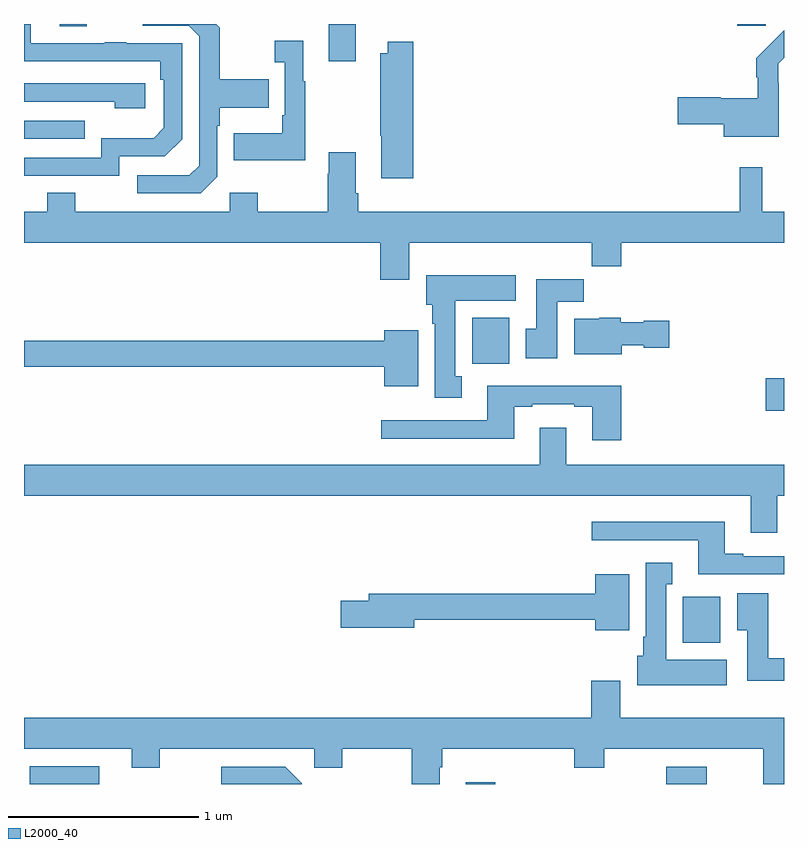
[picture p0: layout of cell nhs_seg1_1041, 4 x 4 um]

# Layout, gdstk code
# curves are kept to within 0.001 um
import gdstk
lib = gdstk.Library(unit=1e-6, precision=1e-09)
def R(c, l, rs):  # rectangles x0, y0, x1, y1
    for r in rs: c.add(gdstk.rectangle(r[:2], r[2:], *l))
def P(c, l, *ps):  # polygons
    for p in ps: c.add(gdstk.Polygon(p, *l))
L2000_40 = (2000, 40)

nhs_seg1_1041 = lib.new_cell('nhs_seg1_1041')
R(nhs_seg1_1041, L2000_40, [(167.031,566.199,167.395,566.292), (169.325,566.199,169.48,566.209), (170.379,566.199,170.593,566.289), (170.468,566.942,170.665,567.184), (170.904,568.163,171,568.334), (169.358,568.412,169.555,568.654), (167,569.595,167.321,569.691), (168.605,570.003,168.745,570.199), (167.189,570.186,167.329,570.199), (170.753,570.189,170.903,570.199)])
P(nhs_seg1_1041, L2000_40, [(167.502,569.502),(167.742,569.502),(167.832,569.592),(167.832,570.099),(167.537,570.099),(167.537,570.104),(167.425,570.104),(167.425,570.099),(167.035,570.099),(167.035,570.199),(167,570.199),(167,570.004),(167.716,570.003),(167.716,569.906),(167.736,569.906),(167.736,569.652),(167.683,569.599),(167.406,569.599),(167.406,569.496),(167,569.496),(167,569.4),(167.502,569.4)],
  [(168.018,569.394),(168.018,569.663),(168.031,569.663),(168.031,569.759),(168.287,569.759),(168.287,569.907),(168.031,569.907),(168.031,570.179),(168.011,570.199),(167.625,570.199),(167.625,570.189),(167.868,570.189),(167.922,570.135),(167.922,569.454),(167.871,569.403),(167.595,569.403),(167.595,569.307),(167.931,569.307)],
  [(170.973,569.891),(170.97,569.891),(170.97,569.991),(171,570.021),(171,570.165),(170.855,570.019),(170.855,569.918),(170.861,569.918),(170.861,569.808),(170.667,569.808),(170.667,569.813),(170.442,569.813),(170.442,569.671),(170.684,569.671),(170.684,569.606),(170.973,569.606)],
  [(168.481,569.899),(168.469,569.899),(168.469,570.112),(168.321,570.112),(168.321,569.999),(168.372,569.999),(168.372,569.719),(168.36,569.719),(168.36,569.623),(168.103,569.623),(168.103,569.483),(168.481,569.483)],
  [(169.049,570.106),(168.914,570.106),(168.914,570.046),(168.874,570.046),(168.874,569.611),(168.881,569.611),(168.881,569.388),(169.049,569.388)],
  [(167.638,569.886),(167,569.886),(167,569.79),(167.477,569.79),(167.477,569.756),(167.638,569.756)],
  [(169.027,569.048),(169.987,569.048),(169.987,568.924),(170.144,568.924),(170.144,569.048),(171,569.048),(171,569.212),(170.885,569.212),(170.885,569.446),(170.767,569.446),(170.767,569.212),(168.758,569.212),(168.758,569.308),(168.745,569.308),(168.745,569.524),(168.605,569.524),(168.605,569.411),(168.598,569.411),(168.598,569.212),(168.231,569.212),(168.231,569.311),(168.084,569.311),(168.084,569.212),(167.271,569.212),(167.271,569.311),(167.123,569.311),(167.123,569.212),(167,569.212),(167,569.048),(168.875,569.048),(168.875,568.854),(169.027,568.854)],
  [(169.303,568.346),(169.27,568.346),(169.27,568.742),(169.588,568.742),(169.588,568.876),(169.118,568.876),(169.118,568.722),(169.148,568.722),(169.148,568.622),(169.163,568.622),(169.163,568.233),(169.303,568.233)],
  [(169.807,568.736),(169.946,568.736),(169.946,568.855),(169.697,568.855),(169.697,568.596),(169.64,568.596),(169.64,568.44),(169.807,568.44)],
  [(170.146,568.508),(170.262,568.508),(170.262,568.496),(170.395,568.496),(170.395,568.638),(170.262,568.638),(170.262,568.63),(170.142,568.63),(170.142,568.654),(170.028,568.654),(170.028,568.648),(169.895,568.648),(169.895,568.46),(170.146,568.46)],
  [(169.075,568.588),(168.896,568.588),(168.896,568.532),(167,568.532),(167,568.396),(168.896,568.396),(168.896,568.292),(169.075,568.292)],
  [(170.144,568.294),(169.439,568.294),(169.439,568.113),(168.879,568.113),(168.879,568.016),(169.579,568.016),(169.579,568.185),(169.675,568.185),(169.675,568.197),(169.895,568.197),(169.895,568.185),(169.991,568.185),(169.991,568.008),(170.144,568.008)],
  [(169.855,568.075),(169.715,568.075),(169.715,567.88),(167,567.88),(167,567.716),(170.825,567.716),(170.825,567.522),(170.965,567.522),(170.965,567.716),(171,567.716),(171,567.88),(169.855,567.88)],
  [(171,567.399),(170.785,567.399),(170.785,567.412),(170.689,567.412),(170.689,567.58),(169.989,567.58),(169.989,567.483),(170.549,567.483),(170.549,567.303),(171,567.303)],
  [(170.698,566.854),(170.38,566.854),(170.38,567.251),(170.413,567.251),(170.413,567.364),(170.273,567.364),(170.273,566.974),(170.258,566.974),(170.258,566.874),(170.228,566.874),(170.228,566.72),(170.698,566.72)],
  [(170.185,567.304),(170.006,567.304),(170.006,567.2),(168.815,567.2),(168.815,567.164),(168.666,567.164),(168.666,567.022),(169.054,567.022),(169.054,567.064),(170.006,567.064),(170.006,567.008),(170.185,567.008)],
  [(171,566.86),(170.917,566.86),(170.917,567.202),(170.753,567.202),(170.753,567.008),(170.807,567.008),(170.807,566.742),(171,566.742)],
  [(169.189,566.288),(169.202,566.288),(169.202,566.384),(169.895,566.384),(169.895,566.285),(170.055,566.285),(170.055,566.384),(170.891,566.384),(170.891,566.199),(171,566.199),(171,566.548),(170.137,566.548),(170.137,566.743),(169.985,566.743),(169.985,566.548),(167,566.548),(167,566.384),(167.567,566.384),(167.567,566.285),(167.715,566.285),(167.715,566.384),(168.528,566.384),(168.528,566.285),(168.675,566.285),(168.675,566.384),(169.042,566.384),(169.042,566.199),(169.189,566.199)],
  [(168.462,566.202),(168.375,566.289),(168.039,566.289),(168.039,566.199),(168.462,566.199)])

lib.write_gds('nhs_seg1_1041.gds')
